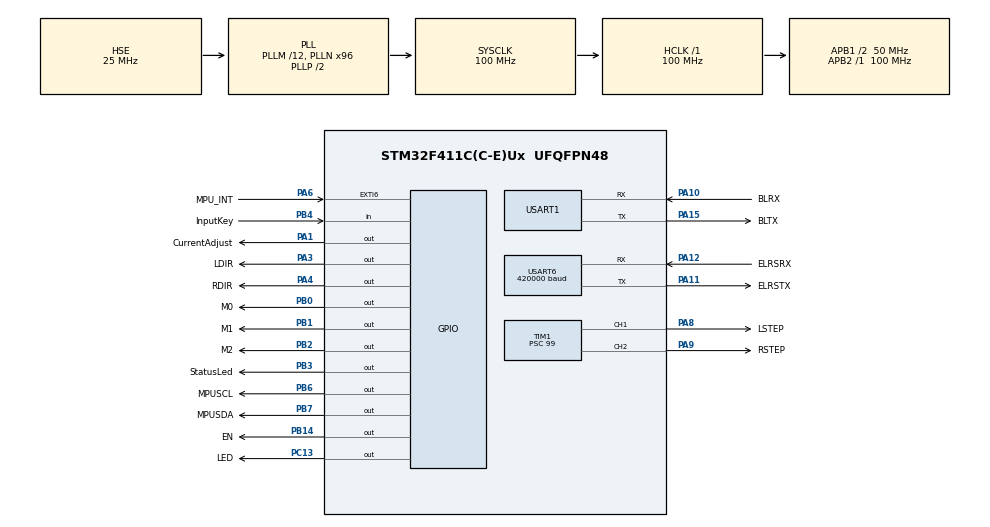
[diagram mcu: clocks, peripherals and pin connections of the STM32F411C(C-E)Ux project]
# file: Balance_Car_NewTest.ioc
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Dma.Request0=USART6_RX
Dma.USART6_RX.0.Direction=DMA_PERIPH_TO_MEMORY
Dma.USART6_RX.0.FIFOMode=DMA_FIFOMODE_DISABLE
Dma.USART6_RX.0.Instance=DMA2_Stream1
Dma.USART6_RX.0.MemDataAlignment=DMA_MDATAALIGN_BYTE
Dma.USART6_RX.0.MemInc=DMA_MINC_ENABLE
Dma.USART6_RX.0.Mode=DMA_NORMAL
Dma.USART6_RX.0.PeriphDataAlignment=DMA_PDATAALIGN_BYTE
Dma.USART6_RX.0.PeriphInc=DMA_PINC_DISABLE
Dma.USART6_RX.0.Priority=DMA_PRIORITY_LOW
Mcu.Family=STM32F4
Mcu.Name=STM32F411C(C-E)Ux
Mcu.Package=UFQFPN48
NVIC.DMA2_Stream1_IRQn=true\:9\:0\:true\:false\:true\:false\:true\:true
NVIC.EXTI9_5_IRQn=true\:2\:0\:true\:false\:true\:true\:true\:true
NVIC.PriorityGroup=NVIC_PRIORITYGROUP_4
NVIC.TIM1_CC_IRQn=true\:0\:0\:false\:false\:true\:true\:true\:true
NVIC.TIM2_IRQn=true\:0\:0\:false\:false\:true\:true\:true\:true
NVIC.USART1_IRQn=true\:7\:0\:true\:false\:true\:true\:true\:true
NVIC.USART6_IRQn=true\:5\:0\:true\:false\:true\:true\:true\:true
PA1.GPIO_Label=CurrentAdjust
PA1.Signal=GPIO_Output
PA10.GPIO_Label=BLRX
PA10.Mode=Asynchronous
PA10.Signal=USART1_RX
PA11.GPIO_Label=ELRSTX
PA11.Mode=Asynchronous
PA11.Signal=USART6_TX
PA12.GPIO_Label=ELRSRX
PA12.Mode=Asynchronous
PA12.Signal=USART6_RX
PA13.Mode=Serial_Wire
PA13.Signal=SYS_JTMS-SWDIO
PA14.Mode=Serial_Wire
PA14.Signal=SYS_JTCK-SWCLK
PA15.GPIO_Label=BLTX
PA15.Mode=Asynchronous
PA15.Signal=USART1_TX
PA3.GPIO_Label=LDIR
PA3.Signal=GPIO_Output
PA4.GPIO_Label=RDIR
PA4.Signal=GPIO_Output
PA6.GPIO_Label=MPU_INT
PA6.GPIO_ModeDefaultEXTI=GPIO_MODE_IT_FALLING
PA6.GPIO_PuPd=GPIO_PULLUP
PA6.Signal=GPXTI6
PA8.GPIO_Label=LSTEP
PA8.GPIO_Speed=GPIO_SPEED_FREQ_HIGH
PA8.Signal=S_TIM1_CH1
PA9.GPIO_Label=RSTEP
PA9.GPIO_Speed=GPIO_SPEED_FREQ_HIGH
PA9.Signal=S_TIM1_CH2
PB0.GPIO_Label=M0
PB0.Signal=GPIO_Output
PB1.GPIO_Label=M1
PB1.Signal=GPIO_Output
PB14.GPIO_Label=EN
PB14.GPIO_PuPd=GPIO_PULLUP
PB14.PinState=GPIO_PIN_SET
PB14.Signal=GPIO_Output
PB2.GPIO_Label=M2
PB2.Signal=GPIO_Output
PB3.GPIO_Label=StatusLed
PB3.GPIO_PuPd=GPIO_PULLDOWN
PB3.Signal=GPIO_Output
PB4.GPIO_Label=InputKey
PB4.GPIO_PuPd=GPIO_PULLUP
PB4.Signal=GPIO_Input
PB6.GPIO_Label=MPUSCL
PB6.Signal=GPIO_Output
PB7.GPIO_Label=MPUSDA
PB7.Signal=GPIO_Output
PC13-ANTI_TAMP.GPIO_Label=LED
PC13-ANTI_TAMP.GPIO_PuPd=GPIO_PULLUP
PC13-ANTI_TAMP.PinState=GPIO_PIN_SET
PC13-ANTI_TAMP.Signal=GPIO_Output
PH0\ -\ OSC_IN.Mode=HSE-External-Oscillator
PH0\ -\ OSC_IN.Signal=RCC_OSC_IN
PH1\ -\ OSC_OUT.Mode=HSE-External-Oscillator
PH1\ -\ OSC_OUT.Signal=RCC_OSC_OUT
ProjectManager.HeapSize=0x200
ProjectManager.StackSize=0x400
ProjectManager.TargetToolchain=MDK-ARM V5.27
RCC.48MHZClocksFreq_Value=50000000
RCC.AHBFreq_Value=100000000
RCC.APB1CLKDivider=RCC_HCLK_DIV2
RCC.APB1Freq_Value=50000000
RCC.APB1TimFreq_Value=100000000
RCC.APB2Freq_Value=100000000
RCC.APB2TimFreq_Value=100000000
RCC.CortexFreq_Value=100000000
RCC.HCLKFreq_Value=100000000
RCC.HSE_VALUE=25000000
RCC.HSI_VALUE=16000000
RCC.LSE_VALUE=32768
RCC.PLLM=12
RCC.PLLN=96
RCC.PLLSourceVirtual=RCC_PLLSOURCE_HSE
RCC.SYSCLKFreq_VALUE=100000000
RCC.SYSCLKSource=RCC_SYSCLKSOURCE_PLLCLK
RCC.VCOOutputFreq_Value=200000000
SH.S_TIM1_CH1.0=TIM1_CH1,Output Compare1 CH1
SH.S_TIM1_CH2.0=TIM1_CH2,Output Compare2 CH2
TIM1.Channel-Output\ Compare1\ CH1=TIM_CHANNEL_1
TIM1.Channel-Output\ Compare2\ CH2=TIM_CHANNEL_2
TIM1.OCMode_1=TIM_OCMODE_TOGGLE
TIM1.OCMode_2=TIM_OCMODE_TOGGLE
TIM1.Prescaler=99
TIM2.Period=999
TIM2.Prescaler=99
USART1.VirtualMode=VM_ASYNC
USART6.BaudRate=420000
USART6.VirtualMode=VM_ASYNC
VP_TIM1_VS_ClockSourceINT.Mode=Internal
VP_TIM2_VS_ClockSourceINT.Mode=Internal
board=custom

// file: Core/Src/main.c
/* USER CODE BEGIN Header */
/**
  ******************************************************************************
  * @file           : main.c
  * @brief          : Main program body
  ******************************************************************************
  * @attention
  *
  * <h2><center>&copy; Copyright (c) 2024 STMicroelectronics.
  * All rights reserved.</center></h2>
  *
  * This software component is licensed by ST under BSD 3-Clause license,
  * the "License"; You may not use this file except in compliance with the
  * License. You may obtain a copy of the License at:
  *                        opensource.org/licenses/BSD-3-Clause
  *
  ******************************************************************************
  */
/* USER CODE END Header */
#include "main.h"
#include "dma.h"
#include "tim.h"
#include "usart.h"
#include "gpio.h"

/* USER CODE BEGIN Includes */

//#include "arm_math.h" //确保使用FPU加速浮点计算

#include "crsf_parse.h"

u8 mpu_dmp_flag = 0;  //陀螺仪初始化判断

u8 Flag_Qian, Flag_Hou, Flag_Left, Flag_Right, Flag_sudu = 1;

int Moto1 = 0, Moto2 = 0;

int Remoter_Ch1 = 1500, Remoter_Ch2 = 1500, Arm_ch6 = 1500;

// 状态标志
u8 Flag_Stop = 1;             // 初始为停止状态
u8 Flag_Zhongzhi = 0;         // 中值校准完成标志

int Target_Velocity = 4000; // 默认速度快慢

float Zhongzhi = 2.0f;

// 传感器数据 (如果 MPU6050.c 中没有定义，则在这里定义)
// 注意：如果 mpu6050.c 中已经定义了 pitch, roll 等，请删除下面这几行，避免重复定义
float pitch = 0.0f;
float roll = 0.0f;
float yaw = 0.0f;
short sgyrox = 0;
short sgyroy = 0;
short sgyroz = 0;

float fgyrox = 0;
float fgyroy = 0;
float fgyroz = 0;

static void MX_NVIC_Init(void);
/* USER CODE END Includes */

/* USER CODE BEGIN PTD */
uint8_t receive_buff[255];
/* USER CODE END PTD */

void SystemClock_Config(void);

int main(void)
{

    /* MCU Configuration--------------------------------------------------------*/

    /* Reset of all peripherals, Initializes the Flash interface and the Systick. */
    HAL_Init();

    /* Configure the system clock */
    SystemClock_Config();

    /* Initialize all configured peripherals */
    MX_GPIO_Init();
    MX_DMA_Init();
    MX_USART1_UART_Init();

    MX_USART6_UART_Init();

    MX_TIM1_Init();
    MX_TIM2_Init();
    /* USER CODE BEGIN 2 */
    delay_init(100);
    MX_NVIC_Init();

    MPU6050_Init();					                           //初始化MPU6050
    mpu_dmp_flag = mpu_dmp_init();                 //初始化MPU6050的DMP
    printf("MPU6050 DMP Initiate flag is %d \r\n", mpu_dmp_flag);

    HAL_GPIO_WritePin(GPIOB, GPIO_PIN_2, GPIO_PIN_SET);
    HAL_GPIO_WritePin(GPIOC, GPIO_PIN_13, GPIO_PIN_RESET);
    HAL_GPIO_WritePin(GPIOB, GPIO_PIN_3, GPIO_PIN_SET);

    delay_ms(2000);

     Motor_Init_System();

    HAL_TIM_Base_Start_IT(&htim2);  // <<< 启动 TIM2 更新中断！

    HAL_NVIC_EnableIRQ(EXTI9_5_IRQn);

    CRSF_Init(&huart6);

    /* USER CODE END 2 */

    /* Infinite loop */
    while (1)
    {

        /* USER CODE BEGIN 3 */
        CRSF_Debug();

    }
    /* USER CODE END 3 */
}

void SystemClock_Config(void)
{
    RCC_OscInitTypeDef RCC_OscInitStruct = {0};
    RCC_ClkInitTypeDef RCC_ClkInitStruct = {0};

    /** Configure the main internal regulator output voltage
    */
    __HAL_RCC_PWR_CLK_ENABLE();
    __HAL_PWR_VOLTAGESCALING_CONFIG(PWR_REGULATOR_VOLTAGE_SCALE1);

    /** Initializes the RCC Oscillators according to the specified parameters
    * in the RCC_OscInitTypeDef structure.
    */
    RCC_OscInitStruct.OscillatorType = RCC_OSCILLATORTYPE_HSE;
    RCC_OscInitStruct.HSEState = RCC_HSE_ON;
    RCC_OscInitStruct.PLL.PLLState = RCC_PLL_ON;
    RCC_OscInitStruct.PLL.PLLSource = RCC_PLLSOURCE_HSE;
    RCC_OscInitStruct.PLL.PLLM = 12;
    RCC_OscInitStruct.PLL.PLLN = 96;
    RCC_OscInitStruct.PLL.PLLP = RCC_PLLP_DIV2;
    RCC_OscInitStruct.PLL.PLLQ = 4;
    if (HAL_RCC_OscConfig(&RCC_OscInitStruct) != HAL_OK)
    {
        Error_Handler();
    }

    /** Initializes the CPU, AHB and APB buses clocks
    */
    RCC_ClkInitStruct.ClockType = RCC_CLOCKTYPE_HCLK | RCC_CLOCKTYPE_SYSCLK
                                  | RCC_CLOCKTYPE_PCLK1 | RCC_CLOCKTYPE_PCLK2;
    RCC_ClkInitStruct.SYSCLKSource = RCC_SYSCLKSOURCE_PLLCLK;
    RCC_ClkInitStruct.AHBCLKDivider = RCC_SYSCLK_DIV1;
    RCC_ClkInitStruct.APB1CLKDivider = RCC_HCLK_DIV2;
    RCC_ClkInitStruct.APB2CLKDivider = RCC_HCLK_DIV1;

    if (HAL_RCC_ClockConfig(&RCC_ClkInitStruct, FLASH_LATENCY_3) != HAL_OK)
    {
        Error_Handler();
    }
}

/* USER CODE BEGIN 4 */
static void MX_NVIC_Init(void)
{
    /* USART6_IRQn interrupt configuration */
    HAL_NVIC_SetPriority(USART6_IRQn, 0, 0);
    HAL_NVIC_EnableIRQ(USART6_IRQn);
}

/* USER CODE END 4 */

void Error_Handler(void)
{
    __disable_irq();
    while (1)
    {
    }
}
